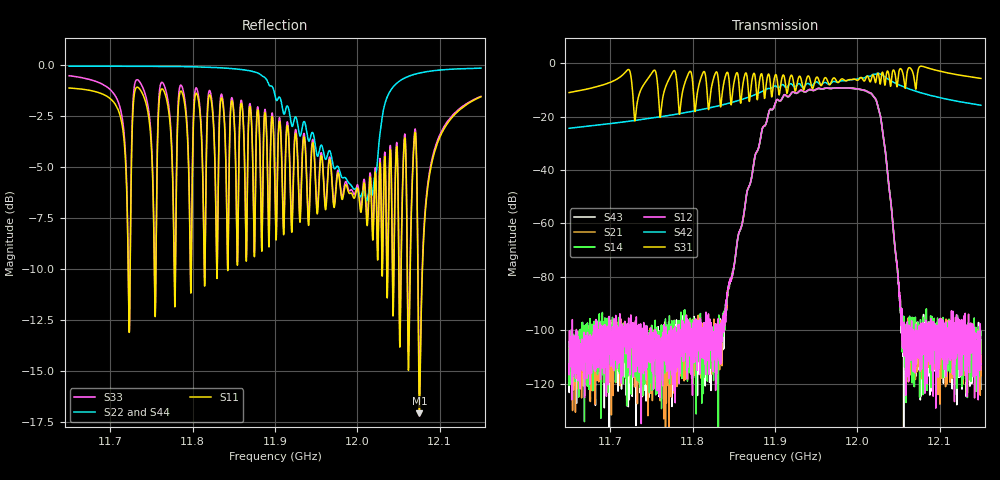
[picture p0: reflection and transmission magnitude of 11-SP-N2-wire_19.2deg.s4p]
#  HZ  S  RI  R  50.00
! Rohde & Schwarz ZVA24 4Ports - Version 2.92 - 1145.1110k26 SN: 100307
! Date: 2021-03-18 21:22:40
! Measurements: S11 S12 S13 S14 S21 S22 S23 S24 S31 S32 S33 S34 S41 S42 S43 S44
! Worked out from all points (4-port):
!   3334 points, 11.65 GHz to 12.15 GHz, reference 50 ohm
!   strongest paths, dB at 11.65 GHz, 11.775 GHz, 11.9 GHz, 12.025 GHz, 12.15 GHz:
!     S31: -11.0, -3.8, -4.6, -3.8, -5.7
!     S42: -24.4, -19.4, -8.5, -3.7, -15.7
!     S12: -112.6, -116.8, -15.2, -16.3, -114.7
!     S14: -120.6, -98.2, -15.3, -16.3, -101.8
!     S21: -106.6, -103.0, -15.2, -16.3, -104.0
!     S43: -104.2, -103.9, -15.2, -16.4, -122.1
!   lowest |S11| = -17.1 dB at 12.075 GHz (marker M1), VSWR 1.33, Z = 55.6 + j13.9 ohm
!   |S11| at or under -10 dB: 12.05036 GHz to 12.05308 GHz (2.718 MHz wide, 0.0225 % of centre); 12.06057 GHz to 12.06405 GHz (3.477 MHz wide, 0.0288 % of centre); 12.07346 GHz to 12.07893 GHz (5.477 MHz wide, 0.0454 % of centre)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
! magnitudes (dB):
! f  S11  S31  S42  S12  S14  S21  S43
! 11.65 GHz  -1.1  -11.0  -24.4  -112.6  -120.6  -106.6  -104.2
! 11.846 GHz  -2.4  -13.4  -14.8  -81.1  -81.5  -81.5  -81.3
! 11.894 GHz  -6.2  -6.0  -9.5  -17.4  -17.4  -17.4  -17.4
! 11.982 GHz  -6.5  -5.9  -6.5  -9.2  -9.2  -9.2  -9.2
! 12.023 GHz  -5.7  -6.7  -4.0  -13.7  -13.7  -13.7  -13.8
! 12.075 GHz  -17.1  -1.4  -10.9  -104.6  -100.0  -102.5  -110.7
! 12.15 GHz  -1.5  -5.7  -15.7  -114.7  -101.8  -104.0  -122.1
